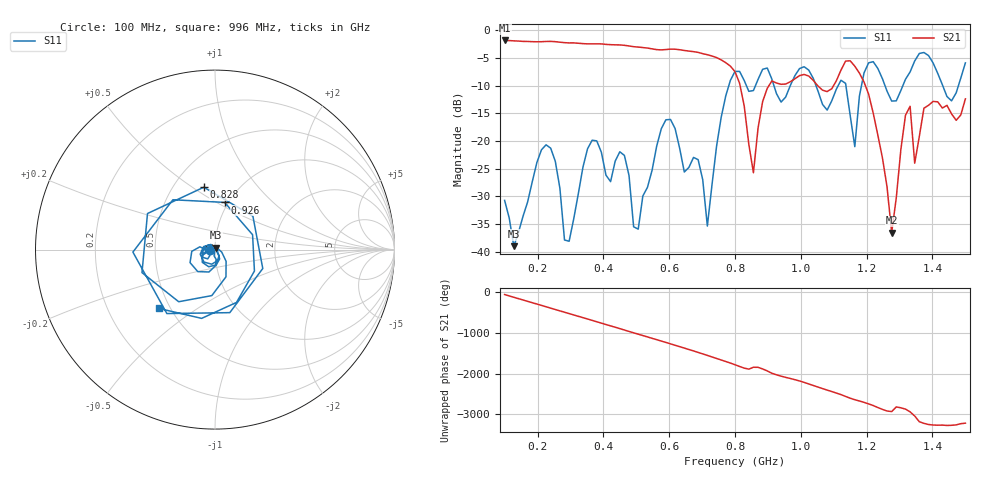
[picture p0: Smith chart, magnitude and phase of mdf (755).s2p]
! NanoVNA-App
! Date: 2025-09-25 15:44:17
! Start: 100MHz Stop: 1,5GHz Points: 101
! S-Parameter data: F S11 S21 S12 S22
# Hz S RI R 50
!  Frequency  S11_Real  S11_Imag  S21_Real  S21_Imag  S12_Real  S12_Imag  S22_Real  S22_Imag
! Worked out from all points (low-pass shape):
!   101 points, 100 MHz to 1.5 GHz, reference 50 ohm
!   highest |S21| = -1.80 dB at 100 MHz (marker M1); lowest = -36.6 dB at 1.276 GHz (marker M2)
!   |S21| within 3 dB of the highest: start of sweep to 739.3 MHz
!   lowest |S11| = -39.0 dB at 128 MHz (marker M3), VSWR 1.02, Z = 50.3 + j1.07 ohm
!   |S11| at or under -10 dB: start of sweep to 781.1 MHz; 1.046 GHz to 1.113 GHz (67.08 MHz wide, 6.21 % of centre); 1.256 GHz to 1.31 GHz (53.98 MHz wide, 4.21 % of centre) (the widest 3 of 7)
!   S12 and S22 are empty: the file has one direction only
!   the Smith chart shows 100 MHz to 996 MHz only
!   S11 on the Smith chart (normalised r, x): 100 MHz: 0.94, -0.01; 828 MHz: 0.70, +0.56; 926 MHz: 0.96, +0.55; 996 MHz: 0.44, -0.36
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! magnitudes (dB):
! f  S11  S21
! 100 MHz  -30.7  -1.8
! 128 MHz  -39.0  -1.9
! 212 MHz  -21.6  -2.0
! 282 MHz  -37.9  -2.2
! 338 MHz  -24.7  -2.4
! 464 MHz  -22.6  -2.7
! 506 MHz  -35.9  -3.0
! 576 MHz  -17.8  -3.5
! 716 MHz  -35.4  -4.4
! 800 MHz  -7.4  -7.4
! 828 MHz  -9.0  -13.6
! 856 MHz  -10.9  -25.7
! 926 MHz  -11.4  -9.5
! 996 MHz  -6.9  -8.2
! 1.038 GHz  -8.7  -9.0
! 1.136 GHz  -9.6  -5.5
! 1.164 GHz  -21.0  -6.5
! 1.178 GHz  -11.9  -7.7
! 1.276 GHz  -12.8  -36.6
! 1.332 GHz  -7.5  -13.7
! 1.346 GHz  -5.5  -24.0
! 1.5 GHz  -5.9  -12.4
